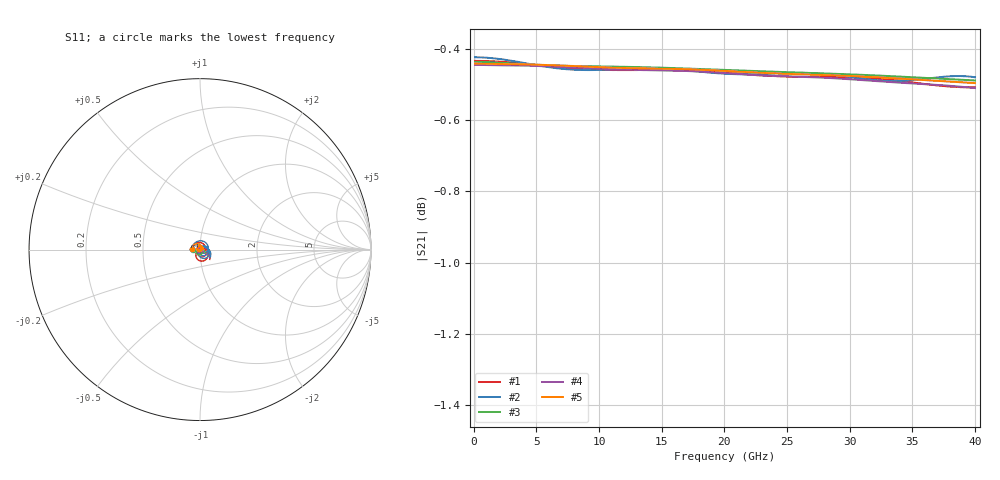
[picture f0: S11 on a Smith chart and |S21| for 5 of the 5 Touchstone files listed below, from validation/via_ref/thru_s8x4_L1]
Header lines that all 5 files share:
! thru_s8x4_L1: 2×thru, L1, 8 mm
! stackup: 8-layer 1.6 mm FR-4 without the L4 plane
! ports: 1, 2
# Hz S RI R 50
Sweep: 100 MHz to 40 GHz
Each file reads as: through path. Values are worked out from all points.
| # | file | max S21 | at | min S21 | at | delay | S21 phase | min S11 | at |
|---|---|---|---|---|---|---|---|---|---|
| 1 | cst.s2p | -0.43 dB | 200 MHz | -0.5 dB | 39.9 GHz | 46.8 ps | 23 deg at 20.1 GHz | -58.6 dB | 36.1 GHz |
| 2 | cst_fine.s2p | -0.42 dB | 200 MHz | -0.5 dB | 33.5 GHz | 46.6 ps | 24 deg at 20.1 GHz | -61.8 dB | 34.8 GHz |
| 3 | kisi.s2p | -0.44 dB | 100 MHz | -0.5 dB | 40 GHz | 46.8 ps | 23 deg at 20.1 GHz | -48.9 dB | 27.4 GHz |
| 4 | openems.s2p | -0.44 dB | 100 MHz | -0.5 dB | 40 GHz | 46.9 ps | 22 deg at 20.1 GHz | -56.1 dB | 10.4 GHz |
| 5 | openems_base.s2p | -0.44 dB | 100 MHz | -0.5 dB | 40 GHz | 46.7 ps | 24 deg at 20.1 GHz | -67.5 dB | 10.7 GHz |
